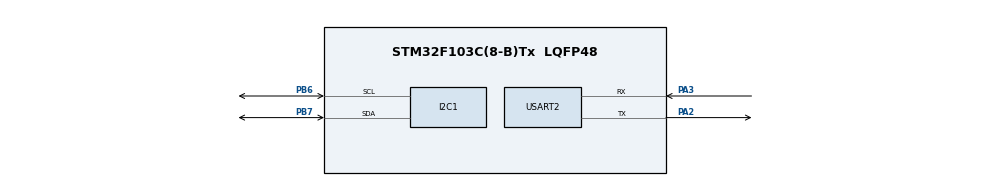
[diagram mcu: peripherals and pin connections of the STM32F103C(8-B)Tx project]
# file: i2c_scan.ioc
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Mcu.Family=STM32F1
RCC.APB2Freq_Value=8000000
PA14.Mode=Serial_Wire
PB7.Signal=I2C1_SDA
PA13.Mode=Serial_Wire
Mcu.Name=STM32F103C(8-B)Tx
PA2.Signal=USART2_TX
Mcu.Package=LQFP48
ProjectManager.StackSize=0x400
USART2.VirtualMode=VM_ASYNC
PA13.Signal=SYS_JTMS-SWDIO
PA3.Mode=Asynchronous
PB7.Mode=I2C
PA14.Signal=SYS_JTCK-SWCLK
ProjectManager.HeapSize=0x200
ProjectManager.TargetToolchain=STM32CubeIDE
NVIC.PriorityGroup=NVIC_PRIORITYGROUP_4
PA2.Mode=Asynchronous
PB6.Signal=I2C1_SCL
PB6.Mode=I2C
RCC.APB1Freq_Value=8000000
PA3.Signal=USART2_RX
board=custom

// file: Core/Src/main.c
/* USER CODE BEGIN Header */
/**
  ******************************************************************************
  * @file           : main.c
  * @brief          : Main program body
  ******************************************************************************
  * @attention
  *
  * <h2><center>&copy; Copyright (c) 2021 STMicroelectronics.
  * All rights reserved.</center></h2>
  *
  * This software component is licensed by ST under BSD 3-Clause license,
  * the "License"; You may not use this file except in compliance with the
  * License. You may obtain a copy of the License at:
  *                        opensource.org/licenses/BSD-3-Clause
  *
  ******************************************************************************
  */
/* USER CODE END Header */
#include "main.h"

/* USER CODE BEGIN Includes */
#include <stdint.h>
/* USER CODE END Includes */

I2C_HandleTypeDef hi2c1;

UART_HandleTypeDef huart2;

void SystemClock_Config(void);
static void MX_GPIO_Init(void);
static void MX_I2C1_Init(void);
static void MX_USART2_UART_Init(void);

/* USER CODE BEGIN 0 */
#ifdef __GNUC__
	#define PUTCHAR_PROTOTYPE int __io_putchar(int ch)
#else
	#define PUTCHAR_PROTOTYPE int fputc(int ch, FILE *f)
#endif /* __GNUC__ */

/**
  * @brief  Retargets the C library printf function to the USART.
  * @param  None
  * @retval None
  */
PUTCHAR_PROTOTYPE
{
    /* Place your implementation of fputc here */
    /* e.g. write a character to the USART */
    HAL_UART_Transmit(&huart2, (uint8_t *)&ch, 1, 100);

    return ch;
}
/* USER CODE END 0 */

int main(void)
{

  /* MCU Configuration--------------------------------------------------------*/

  /* Reset of all peripherals, Initializes the Flash interface and the Systick. */
  HAL_Init();

  /* Configure the system clock */
  SystemClock_Config();

  /* Initialize all configured peripherals */
  MX_GPIO_Init();
  MX_I2C1_Init();
  MX_USART2_UART_Init();
  /* USER CODE BEGIN 2 */
  printf("Scanning I2C bus:\r\n");

  HAL_StatusTypeDef result;
  for (uint8_t i = 1; i < 128; i++)
  {
   	  result = HAL_I2C_IsDeviceReady(&hi2c1, (uint8_t)(i << 1), 3, 200);
   	  if (result == HAL_OK)
   	  {
   		  printf("Found device at: 0x%X\r\n", i); // Received an ACK at that address
   	  }
  }
  printf("\r\n");
  /* USER CODE END 2 */

  /* Infinite loop */
  while (1)
  {

  }
}

void SystemClock_Config(void)
{
  RCC_OscInitTypeDef RCC_OscInitStruct = {0};
  RCC_ClkInitTypeDef RCC_ClkInitStruct = {0};

  /** Initializes the RCC Oscillators according to the specified parameters
  * in the RCC_OscInitTypeDef structure.
  */
  RCC_OscInitStruct.OscillatorType = RCC_OSCILLATORTYPE_HSI;
  RCC_OscInitStruct.HSIState = RCC_HSI_ON;
  RCC_OscInitStruct.HSICalibrationValue = RCC_HSICALIBRATION_DEFAULT;
  RCC_OscInitStruct.PLL.PLLState = RCC_PLL_NONE;
  if (HAL_RCC_OscConfig(&RCC_OscInitStruct) != HAL_OK)
  {
    Error_Handler();
  }
  /** Initializes the CPU, AHB and APB buses clocks
  */
  RCC_ClkInitStruct.ClockType = RCC_CLOCKTYPE_HCLK|RCC_CLOCKTYPE_SYSCLK
                              |RCC_CLOCKTYPE_PCLK1|RCC_CLOCKTYPE_PCLK2;
  RCC_ClkInitStruct.SYSCLKSource = RCC_SYSCLKSOURCE_HSI;
  RCC_ClkInitStruct.AHBCLKDivider = RCC_SYSCLK_DIV1;
  RCC_ClkInitStruct.APB1CLKDivider = RCC_HCLK_DIV1;
  RCC_ClkInitStruct.APB2CLKDivider = RCC_HCLK_DIV1;

  if (HAL_RCC_ClockConfig(&RCC_ClkInitStruct, FLASH_LATENCY_0) != HAL_OK)
  {
    Error_Handler();
  }
}

static void MX_I2C1_Init(void)
{

  hi2c1.Instance = I2C1;
  hi2c1.Init.ClockSpeed = 100000;
  hi2c1.Init.DutyCycle = I2C_DUTYCYCLE_2;
  hi2c1.Init.OwnAddress1 = 0;
  hi2c1.Init.AddressingMode = I2C_ADDRESSINGMODE_7BIT;
  hi2c1.Init.DualAddressMode = I2C_DUALADDRESS_DISABLE;
  hi2c1.Init.OwnAddress2 = 0;
  hi2c1.Init.GeneralCallMode = I2C_GENERALCALL_DISABLE;
  hi2c1.Init.NoStretchMode = I2C_NOSTRETCH_DISABLE;
  if (HAL_I2C_Init(&hi2c1) != HAL_OK)
  {
    Error_Handler();
  }

}

static void MX_USART2_UART_Init(void)
{

  huart2.Instance = USART2;
  huart2.Init.BaudRate = 115200;
  huart2.Init.WordLength = UART_WORDLENGTH_8B;
  huart2.Init.StopBits = UART_STOPBITS_1;
  huart2.Init.Parity = UART_PARITY_NONE;
  huart2.Init.Mode = UART_MODE_TX_RX;
  huart2.Init.HwFlowCtl = UART_HWCONTROL_NONE;
  huart2.Init.OverSampling = UART_OVERSAMPLING_16;
  if (HAL_UART_Init(&huart2) != HAL_OK)
  {
    Error_Handler();
  }

}

static void MX_GPIO_Init(void)
{

  /* GPIO Ports Clock Enable */
  __HAL_RCC_GPIOA_CLK_ENABLE();
  __HAL_RCC_GPIOB_CLK_ENABLE();

}

void Error_Handler(void)
{
  __disable_irq();
  while (1)
  {
  }
}

/************************ (C) COPYRIGHT STMicroelectronics *****END OF FILE****/
